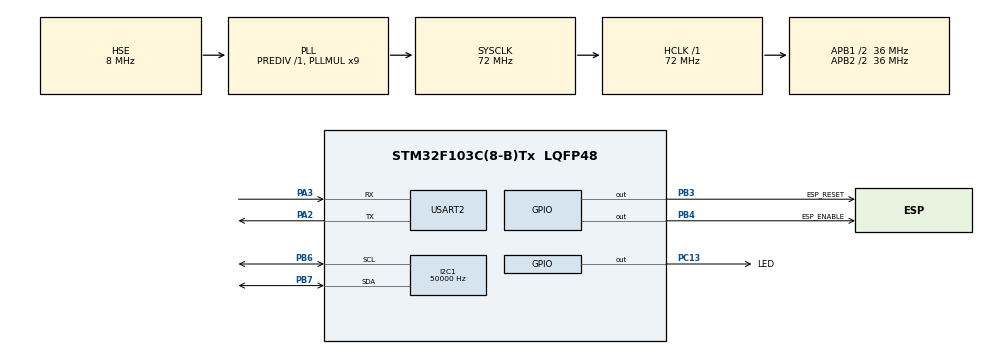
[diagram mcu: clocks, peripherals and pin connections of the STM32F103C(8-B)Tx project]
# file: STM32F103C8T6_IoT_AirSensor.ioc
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I2C1.ClockSpeed=50000
IWDG.Prescaler=IWDG_PRESCALER_256
IWDG.Reload=1023
Mcu.Family=STM32F1
Mcu.Name=STM32F103C(8-B)Tx
Mcu.Package=LQFP48
NVIC.PriorityGroup=NVIC_PRIORITYGROUP_4
NVIC.TIM2_IRQn=true\:0\:0\:false\:false\:true\:true\:true\:true
NVIC.TIM3_IRQn=true\:0\:0\:false\:false\:true\:true\:true\:true
NVIC.USART2_IRQn=true\:0\:0\:false\:false\:true\:true\:true\:true
PA13.Mode=Serial_Wire
PA13.Signal=SYS_JTMS-SWDIO
PA14.Mode=Serial_Wire
PA14.Signal=SYS_JTCK-SWCLK
PA2.Mode=Asynchronous
PA2.Signal=USART2_TX
PA3.Mode=Asynchronous
PA3.Signal=USART2_RX
PB3.GPIO_Label=ESP_RESET
PB3.Signal=GPIO_Output
PB4.GPIO_Label=ESP_ENABLE
PB4.Signal=GPIO_Output
PB6.Mode=I2C
PB6.Signal=I2C1_SCL
PB7.Mode=I2C
PB7.Signal=I2C1_SDA
PC13-TAMPER-RTC.GPIO_Label=LED
PC13-TAMPER-RTC.Signal=GPIO_Output
PD0-OSC_IN.Mode=HSE-External-Oscillator
PD0-OSC_IN.Signal=RCC_OSC_IN
PD1-OSC_OUT.Mode=HSE-External-Oscillator
PD1-OSC_OUT.Signal=RCC_OSC_OUT
ProjectManager.HeapSize=0x200
ProjectManager.StackSize=0x400
ProjectManager.TargetToolchain=STM32CubeIDE
RCC.AHBFreq_Value=72000000
RCC.APB1CLKDivider=RCC_HCLK_DIV2
RCC.APB1Freq_Value=36000000
RCC.APB1TimFreq_Value=72000000
RCC.APB2CLKDivider=RCC_HCLK_DIV2
RCC.APB2Freq_Value=36000000
RCC.APB2TimFreq_Value=72000000
RCC.HCLKFreq_Value=72000000
RCC.PLLMUL=RCC_PLL_MUL9
RCC.PLLSourceVirtual=RCC_PLLSOURCE_HSE
RCC.SYSCLKFreq_VALUE=72000000
RCC.SYSCLKSource=RCC_SYSCLKSOURCE_PLLCLK
RCC.USBFreq_Value=72000000
TIM2.Period=199
TIM2.Prescaler=7200
TIM3.Period=9999
TIM3.Prescaler=7200
USART2.VirtualMode=VM_ASYNC
VP_IWDG_VS_IWDG.Mode=IWDG_Activate
VP_TIM2_VS_ClockSourceINT.Mode=Internal
VP_TIM3_VS_ClockSourceINT.Mode=Internal
board=custom

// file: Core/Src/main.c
/* USER CODE BEGIN Header */
/**
  ******************************************************************************
  * @file           : main.c
  * @brief          : Main program body
  ******************************************************************************
  * @attention
  *
  * Copyright (c) 2025 STMicroelectronics.
  * All rights reserved.
  *
  * This software is licensed under terms that can be found in the LICENSE file
  * in the root directory of this software component.
  * If no LICENSE file comes with this software, it is provided AS-IS.
  *
  ******************************************************************************
  */
/* USER CODE END Header */
#include "main.h"

/* USER CODE BEGIN Includes */
#include "ESP8266.h"
/* USER CODE END Includes */

I2C_HandleTypeDef hi2c1;

IWDG_HandleTypeDef hiwdg;

TIM_HandleTypeDef htim2;
TIM_HandleTypeDef htim3;

UART_HandleTypeDef huart2;

void SystemClock_Config(void);
static void MX_GPIO_Init(void);
static void MX_TIM2_Init(void);
static void MX_TIM3_Init(void);
static void MX_USART2_UART_Init(void);
static void MX_IWDG_Init(void);
static void MX_I2C1_Init(void);

int main(void)
{

  /* MCU Configuration--------------------------------------------------------*/

  /* Reset of all peripherals, Initializes the Flash interface and the Systick. */
  HAL_Init();

  /* Configure the system clock */
  SystemClock_Config();

  /* Initialize all configured peripherals */
  MX_GPIO_Init();
  MX_TIM2_Init();
  MX_TIM3_Init();
  MX_USART2_UART_Init();
  MX_IWDG_Init();
  MX_I2C1_Init();
  /* USER CODE BEGIN 2 */
  HAL_TIM_Base_Start_IT(&htim2);// 20 ms
  HAL_TIM_Base_Start_IT(&htim3);// 1 s
  __HAL_UART_ENABLE_IT(&huart2, UART_IT_RXNE);
	//WatchDog set to 6.5472 seconds
	IWDG->KR = 0xAAAA;//Reset WatchDog
	IWDG->KR = 0xCCCC;//Start WatchDog
  ESP_Server_Init();
  /* USER CODE END 2 */

  /* Infinite loop */
  while (1)
  {

    /* USER CODE BEGIN 3 */
	  IWDG->KR = 0xAAAA;//Reset WatchDog

	  if(messageHandlerFlag)
	  {
		  IWDG->KR = 0xAAAA;//Reset WatchDog
		  messageHandler();
		  messageHandlerFlag = 0;
		  timeout = 0;
		  no_activity_counter = 0;
	  }

	  if(no_activity_counter > 20
		&& esp_state == ESP_Connected)
	  {
		  IWDG->KR = 0xAAAA;//Reset WatchDog
		  HAL_UART_Transmit(&huart2, (uint8_t*)"AT+CWJAP?\r\n", strlen("AT+CWJAP?\r\n"), 100);
		  esp_state = ESP_Disconnected;//until message handler confirms
		  HAL_Delay(500);
	  }else if(esp_state == ESP_Disconnected
			  && no_activity_counter > 30)
	  {
		  ESP_Server_Init();
	  }
  }
  /* USER CODE END 3 */
}

void SystemClock_Config(void)
{
  RCC_OscInitTypeDef RCC_OscInitStruct = {0};
  RCC_ClkInitTypeDef RCC_ClkInitStruct = {0};

  /** Initializes the RCC Oscillators according to the specified parameters
  * in the RCC_OscInitTypeDef structure.
  */
  RCC_OscInitStruct.OscillatorType = RCC_OSCILLATORTYPE_LSI|RCC_OSCILLATORTYPE_HSE;
  RCC_OscInitStruct.HSEState = RCC_HSE_ON;
  RCC_OscInitStruct.HSEPredivValue = RCC_HSE_PREDIV_DIV1;
  RCC_OscInitStruct.HSIState = RCC_HSI_ON;
  RCC_OscInitStruct.LSIState = RCC_LSI_ON;
  RCC_OscInitStruct.PLL.PLLState = RCC_PLL_ON;
  RCC_OscInitStruct.PLL.PLLSource = RCC_PLLSOURCE_HSE;
  RCC_OscInitStruct.PLL.PLLMUL = RCC_PLL_MUL9;
  if (HAL_RCC_OscConfig(&RCC_OscInitStruct) != HAL_OK)
  {
    Error_Handler();
  }

  /** Initializes the CPU, AHB and APB buses clocks
  */
  RCC_ClkInitStruct.ClockType = RCC_CLOCKTYPE_HCLK|RCC_CLOCKTYPE_SYSCLK
                              |RCC_CLOCKTYPE_PCLK1|RCC_CLOCKTYPE_PCLK2;
  RCC_ClkInitStruct.SYSCLKSource = RCC_SYSCLKSOURCE_PLLCLK;
  RCC_ClkInitStruct.AHBCLKDivider = RCC_SYSCLK_DIV1;
  RCC_ClkInitStruct.APB1CLKDivider = RCC_HCLK_DIV2;
  RCC_ClkInitStruct.APB2CLKDivider = RCC_HCLK_DIV2;

  if (HAL_RCC_ClockConfig(&RCC_ClkInitStruct, FLASH_LATENCY_2) != HAL_OK)
  {
    Error_Handler();
  }
}

static void MX_I2C1_Init(void)
{

  hi2c1.Instance = I2C1;
  hi2c1.Init.ClockSpeed = 50000;
  hi2c1.Init.DutyCycle = I2C_DUTYCYCLE_2;
  hi2c1.Init.OwnAddress1 = 0;
  hi2c1.Init.AddressingMode = I2C_ADDRESSINGMODE_7BIT;
  hi2c1.Init.DualAddressMode = I2C_DUALADDRESS_DISABLE;
  hi2c1.Init.OwnAddress2 = 0;
  hi2c1.Init.GeneralCallMode = I2C_GENERALCALL_DISABLE;
  hi2c1.Init.NoStretchMode = I2C_NOSTRETCH_DISABLE;
  if (HAL_I2C_Init(&hi2c1) != HAL_OK)
  {
    Error_Handler();
  }

}

static void MX_IWDG_Init(void)
{

  hiwdg.Instance = IWDG;
  hiwdg.Init.Prescaler = IWDG_PRESCALER_256;
  hiwdg.Init.Reload = 1023;
  if (HAL_IWDG_Init(&hiwdg) != HAL_OK)
  {
    Error_Handler();
  }

}

static void MX_TIM2_Init(void)
{

  TIM_ClockConfigTypeDef sClockSourceConfig = {0};
  TIM_MasterConfigTypeDef sMasterConfig = {0};

  htim2.Instance = TIM2;
  htim2.Init.Prescaler = 7200;
  htim2.Init.CounterMode = TIM_COUNTERMODE_UP;
  htim2.Init.Period = 199;
  htim2.Init.ClockDivision = TIM_CLOCKDIVISION_DIV1;
  htim2.Init.AutoReloadPreload = TIM_AUTORELOAD_PRELOAD_DISABLE;
  if (HAL_TIM_Base_Init(&htim2) != HAL_OK)
  {
    Error_Handler();
  }
  sClockSourceConfig.ClockSource = TIM_CLOCKSOURCE_INTERNAL;
  if (HAL_TIM_ConfigClockSource(&htim2, &sClockSourceConfig) != HAL_OK)
  {
    Error_Handler();
  }
  sMasterConfig.MasterOutputTrigger = TIM_TRGO_RESET;
  sMasterConfig.MasterSlaveMode = TIM_MASTERSLAVEMODE_DISABLE;
  if (HAL_TIMEx_MasterConfigSynchronization(&htim2, &sMasterConfig) != HAL_OK)
  {
    Error_Handler();
  }

}

static void MX_TIM3_Init(void)
{

  TIM_ClockConfigTypeDef sClockSourceConfig = {0};
  TIM_MasterConfigTypeDef sMasterConfig = {0};

  htim3.Instance = TIM3;
  htim3.Init.Prescaler = 7200;
  htim3.Init.CounterMode = TIM_COUNTERMODE_UP;
  htim3.Init.Period = 9999;
  htim3.Init.ClockDivision = TIM_CLOCKDIVISION_DIV1;
  htim3.Init.AutoReloadPreload = TIM_AUTORELOAD_PRELOAD_DISABLE;
  if (HAL_TIM_Base_Init(&htim3) != HAL_OK)
  {
    Error_Handler();
  }
  sClockSourceConfig.ClockSource = TIM_CLOCKSOURCE_INTERNAL;
  if (HAL_TIM_ConfigClockSource(&htim3, &sClockSourceConfig) != HAL_OK)
  {
    Error_Handler();
  }
  sMasterConfig.MasterOutputTrigger = TIM_TRGO_RESET;
  sMasterConfig.MasterSlaveMode = TIM_MASTERSLAVEMODE_DISABLE;
  if (HAL_TIMEx_MasterConfigSynchronization(&htim3, &sMasterConfig) != HAL_OK)
  {
    Error_Handler();
  }

}

static void MX_USART2_UART_Init(void)
{

  huart2.Instance = USART2;
  huart2.Init.BaudRate = 115200;
  huart2.Init.WordLength = UART_WORDLENGTH_8B;
  huart2.Init.StopBits = UART_STOPBITS_1;
  huart2.Init.Parity = UART_PARITY_NONE;
  huart2.Init.Mode = UART_MODE_TX_RX;
  huart2.Init.HwFlowCtl = UART_HWCONTROL_NONE;
  huart2.Init.OverSampling = UART_OVERSAMPLING_16;
  if (HAL_UART_Init(&huart2) != HAL_OK)
  {
    Error_Handler();
  }

}

static void MX_GPIO_Init(void)
{
  GPIO_InitTypeDef GPIO_InitStruct = {0};

  /* GPIO Ports Clock Enable */
  __HAL_RCC_GPIOC_CLK_ENABLE();
  __HAL_RCC_GPIOD_CLK_ENABLE();
  __HAL_RCC_GPIOA_CLK_ENABLE();
  __HAL_RCC_GPIOB_CLK_ENABLE();

  /*Configure GPIO pin Output Level */
  HAL_GPIO_WritePin(LED_GPIO_Port, LED_Pin, GPIO_PIN_RESET);

  /*Configure GPIO pin Output Level */
  HAL_GPIO_WritePin(GPIOB, ESP_RESET_Pin|ESP_ENABLE_Pin, GPIO_PIN_RESET);

  /*Configure GPIO pin : LED_Pin */
  GPIO_InitStruct.Pin = LED_Pin;
  GPIO_InitStruct.Mode = GPIO_MODE_OUTPUT_PP;
  GPIO_InitStruct.Pull = GPIO_NOPULL;
  GPIO_InitStruct.Speed = GPIO_SPEED_FREQ_LOW;
  HAL_GPIO_Init(LED_GPIO_Port, &GPIO_InitStruct);

  /*Configure GPIO pins : ESP_RESET_Pin ESP_ENABLE_Pin */
  GPIO_InitStruct.Pin = ESP_RESET_Pin|ESP_ENABLE_Pin;
  GPIO_InitStruct.Mode = GPIO_MODE_OUTPUT_PP;
  GPIO_InitStruct.Pull = GPIO_NOPULL;
  GPIO_InitStruct.Speed = GPIO_SPEED_FREQ_LOW;
  HAL_GPIO_Init(GPIOB, &GPIO_InitStruct);

}

void Error_Handler(void)
{
  __disable_irq();
  while (1)
  {
  }
}
